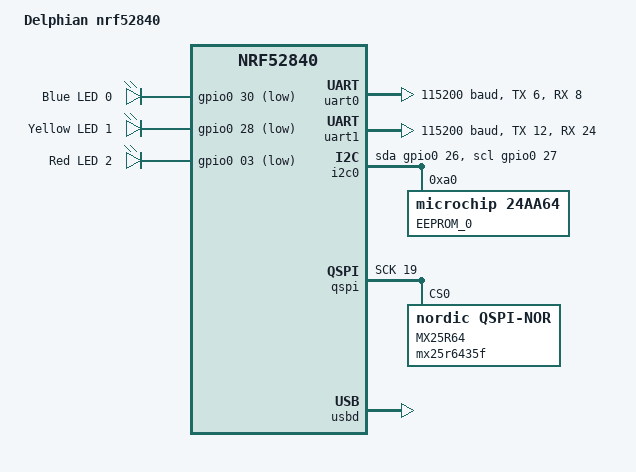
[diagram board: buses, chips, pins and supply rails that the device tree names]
/*
 * 
 *
 * 
 */

/dts-v1/;
#include <nordic/nrf52840_qiaa.dtsi>

/ {
	model = "Delphian nrf52840";
	compatible = "dephian,nrf52840";

	chosen {
		/*zephyr,console = &uart0;*/
		/*zephyr,shell-uart = &uart0;*/
		zephyr,uart-mcumgr = &uart0;
		zephyr,bt-mon-uart = &uart0;
		zephyr,bt-c2h-uart = &uart0;
		zephyr,sram = &sram0;
		zephyr,flash = &flash0;
		zephyr,code-partition = &slot0_partition;
		zephyr,eeprom = &eeprom0;
	};

	leds {
		compatible = "gpio-leds";
		led0: led_0 {
			gpios = <&gpio0 30 GPIO_ACTIVE_LOW>;
			label = "Blue LED 0";
		};
		led1: led_1 {
			gpios = <&gpio0 28 GPIO_ACTIVE_LOW>;
			label = "Yellow LED 1";
		};
		led2: led_2 {
			gpios = <&gpio0 03 GPIO_ACTIVE_LOW>;
			label = "Red LED 2";
		};
/*
*		led3: led_3 {
*			gpios = <&gpio0 16 GPIO_ACTIVE_LOW>;
*			label = "Green LED 3";
*		}; 
*/
	};

/*
*	pwmleds {
*		compatible = "pwm-leds";
*		pwm_led0: pwm_led_0 {
*			pwms = <&pwm0 13>;
*		};
*	};
*/

/*
*	buttons {
*		compatible = "gpio-keys";
*		button0: button_0 {
*			gpios = <&gpio0 11 (GPIO_PULL_UP | GPIO_ACTIVE_LOW)>;
*			label = "Push button switch 0";
*		};
*		button1: button_1 {
*			gpios = <&gpio0 12 (GPIO_PULL_UP | GPIO_ACTIVE_LOW)>;
*			label = "Push button switch 1";
*		};
*		button2: button_2 {
*			gpios = <&gpio0 24 (GPIO_PULL_UP | GPIO_ACTIVE_LOW)>;
*			label = "Push button switch 2";
*		};
*		button3: button_3 {
*			gpios = <&gpio0 25 (GPIO_PULL_UP | GPIO_ACTIVE_LOW)>;
*			label = "Push button switch 3";
*		};
*	};
*/

/*
*	arduino_header: connector {
*		compatible = "arduino-header-r3";
*		#gpio-cells = <2>;
*		gpio-map-mask = <0xffffffff 0xffffffc0>;
*		gpio-map-pass-thru = <0 0x3f>;
*		gpio-map = <0 0 &gpio0 3 0>,
*			   <1 0 &gpio0 4 0>,	
*			   <2 0 &gpio0 28 0>,	
*			   <3 0 &gpio0 29 0>,	
*			   <4 0 &gpio0 30 0>,	
*			   <5 0 &gpio0 31 0>,	
*			   <6 0 &gpio1 1 0>,	
*			   <7 0 &gpio1 2 0>,	
*			   <8 0 &gpio1 3 0>,	
*			   <9 0 &gpio1 4 0>,	
*			   <10 0 &gpio1 5 0>,	
*			   <11 0 &gpio1 6 0>,	
*			   <12 0 &gpio1 7 0>,	
*			   <13 0 &gpio1 8 0>,	
*			   <14 0 &gpio1 10 0>,	
*			   <15 0 &gpio1 11 0>,	
*			   <16 0 &gpio1 12 0>,	
*			   <17 0 &gpio1 13 0>,	
*			   <18 0 &gpio1 14 0>,	
*			   <19 0 &gpio1 15 0>,	
*			   <20 0 &gpio0 26 0>,	
*			   <21 0 &gpio0 27 0>;	
*	};
*/

/*
*	arduino_adc: analog-connector {
*		compatible = "arduino,uno-adc";
*		#io-channel-cells = <1>;
*		io-channel-map = <0 &adc 1>,
*				 <1 &adc 2>,	
*				 <2 &adc 4>,	
*				 <3 &adc 5>,	
*				 <4 &adc 6>,	
*				 <5 &adc 7>;	
*	};
*/

	/* These aliases are provided for compatibility with samples */
	aliases {
		led0 = &led0;
		led1 = &led1;
		led2 = &led2;
		/*led3 = &led3;*/
		/*pwm-led0 = &pwm_led0;*/
		/*sw0 = &button0;*/
		/*sw1 = &button1;*/
		/*sw2 = &button2;*/
		/*sw3 = &button3;*/
		bootloader-led0 = &led0;
	};
};

/*
*&adc {
*	status = "okay";
*};
*
*&gpiote {
*	status = "okay";
*};
*
*&gpio0 {
*	status = "okay";
*};
*
*&gpio1 {
*	status = "okay";
*};
*/

&uart0 {
	compatible = "nordic,nrf-uarte";
	status = "okay";
	current-speed = <115200>;
	tx-pin = <6>;
	rx-pin = <8>;
	rts-pin = <5>;
	cts-pin = <7>;
};

arduino_serial: &uart1 {
	status = "okay";
	current-speed = <115200>;
	rx-pin = <24>;	/* pin 24= P0.24  */
	tx-pin = <12>;	/* pin 12= P0.12  */
};

arduino_i2c: &i2c0 {
	compatible = "nordic,nrf-twi";
	status = "okay";
	sda-gpios = <&gpio0 26 0>;
	scl-gpios = <&gpio0 27 0>;
	eeprom0: eeprom@a0 {
		compatible = "microchip,24aa64";
		reg = <0xA0>;
		label = "EEPROM_0";
		size = <1024>;
		pagesize = <16>;
		address-width = <8>;
		timeout = <5>;
		status = "okay";
	};
};

/*
*&pwm0 {
*	status = "okay";
*	ch0-pin = <13>;
*	ch0-inverted;
*};
*
*&spi0 {
*	compatible = "nordic,nrf-spi";
*	sck-pin = <27>;
*	mosi-pin = <26>;
*	miso-pin = <29>;
*};
*
*&spi1 {
*	compatible = "nordic,nrf-spi";
*	status = "okay";
*	sck-pin = <31>;
*	mosi-pin = <30>;
*	miso-pin = <40>;
*};
*
*&spi2 {
*	compatible = "nordic,nrf-spi";
*	status = "disabled";
*	sck-pin = <19>;
*	mosi-pin = <20>;
*	miso-pin = <21>;
*};
*/
&qspi {
	status = "okay";
	sck-pin = <19>;
	io-pins = <20>, <21>, <22>, <23>;
	csn-pins = <17>;
	mx25r64: mx25r6435f@0 {
		compatible = "nordic,qspi-nor";
		reg = <0>;
		/* MX24R64 supports only pp and pp4io */
		writeoc = "pp4io";
		/* MX24R64 supports all readoc options */
		readoc = "read4io";
		sck-frequency = <8000000>;
		label = "MX25R64";
		jedec-id = [c2 28 17];
		sfdp-bfp = [
			e5 20 f1 ff  ff ff ff 03  44 eb 08 6b  08 3b 04 bb
			ee ff ff ff  ff ff 00 ff  ff ff 00 ff  0c 20 0f 52
			10 d8 00 ff  23 72 f5 00  82 ed 04 cc  44 83 68 44
			30 b0 30 b0  f7 c4 d5 5c  00 be 29 ff  f0 d0 ff ff
		];
		size = <67108864>;
		has-dpd;
		t-enter-dpd = <10000>;
		t-exit-dpd = <35000>;
	};
};

/*
*rduino_spi: &spi3 {
*	status = "okay";
*	sck-pin = <47>;
*	miso-pin = <46>;
*	mosi-pin = <45>;
*	cs-gpios = <&arduino_header 16 GPIO_ACTIVE_LOW>;
*;
*/

&flash0 {

	partitions {
		compatible = "fixed-partitions";
		#address-cells = <1>;
		#size-cells = <1>;

		boot_partition: partition@0 {
			label = "mcuboot";
			reg = <0x000000000 0x0000C000>;
		};
		slot0_partition: partition@c000 {
			label = "image-0";
			reg = <0x0000C000 0x00067000>;
		};
		slot1_partition: partition@73000 {
			label = "image-1";
			reg = <0x00073000 0x00067000>;
		};
		scratch_partition: partition@da000 {
			label = "image-scratch";
			reg = <0x000da000 0x0001e000>;
		};

		/*
		 * The flash starting at 0x000f8000 and ending at
		 * 0x000fffff is reserved for use by the application.
		 */

		/*
		 * Storage partition will be used by FCB/LittleFS/NVS
		 * if enabled.
		 */
		storage_partition: partition@f8000 {
			label = "storage";
			reg = <0x000f8000 0x00008000>;
		};
	};
};

&usbd {
	compatible = "nordic,nrf-usbd";
	status = "okay";
};
